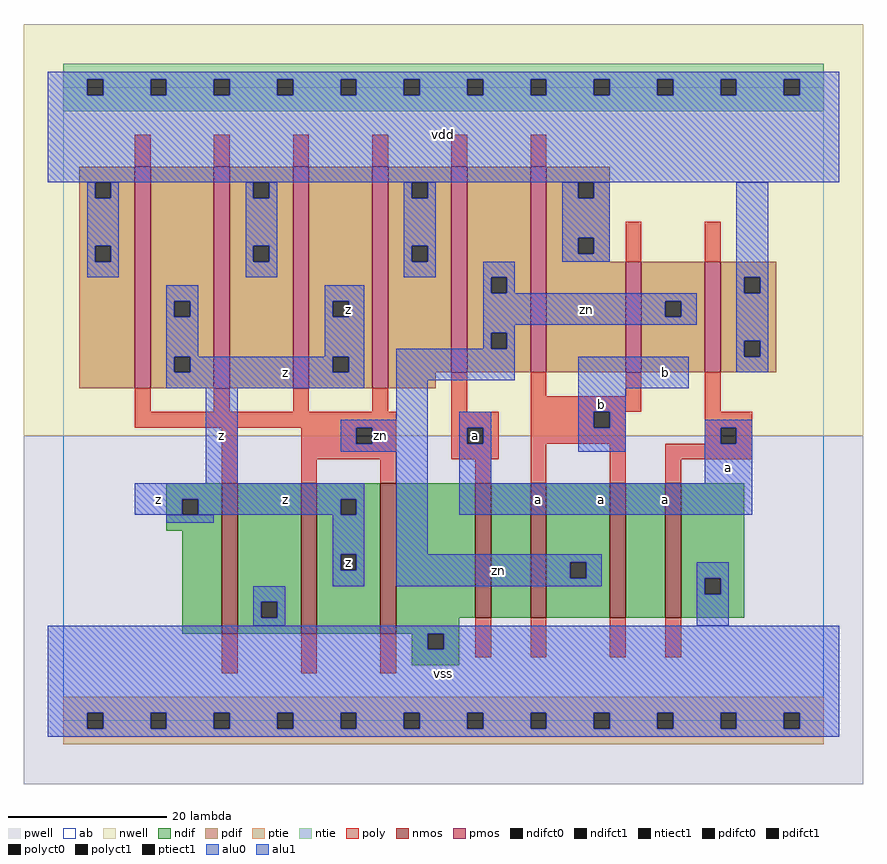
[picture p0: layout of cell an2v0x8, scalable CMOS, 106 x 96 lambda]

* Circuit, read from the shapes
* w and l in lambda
.subckt an2v0x8 a b vdd vss z zn
M1 vss zn z vss nfet w=19 l=2 m=3
M2 n1 a vss vss nfet w=17 l=2
M3 zn b n1 vss nfet w=17 l=2
M4 n2 b zn vss nfet w=17 l=2
M5 vss a n2 vss nfet w=17 l=2
M6 z zn vdd vdd pfet w=28 l=2 m=4
M7 zn a vdd vdd pfet w=26 l=2
M8 vdd b zn vdd pfet w=26 l=2
M9 zn b vdd vdd pfet w=14 l=2
M10 vdd a zn vdd pfet w=14 l=2
.ends

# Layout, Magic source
magic
tech scmos
<< ab >>
rect 0 0 96 80
<< nwell >>
rect -5 36 101 88
<< pwell >>
rect -5 -8 101 36
<< poly >>
rect 9 70 11 74
rect 19 70 21 74
rect 29 70 31 74
rect 39 70 41 74
rect 49 70 51 74
rect 59 70 61 74
rect 71 58 73 63
rect 81 58 83 63
rect 9 39 11 42
rect 19 39 21 42
rect 29 39 31 42
rect 39 39 41 42
rect 49 39 51 44
rect 59 41 61 44
rect 71 41 73 44
rect 59 39 73 41
rect 81 39 83 44
rect 9 37 42 39
rect 20 30 22 37
rect 30 35 37 37
rect 39 35 42 37
rect 30 33 42 35
rect 49 37 55 39
rect 49 35 51 37
rect 53 35 55 37
rect 49 33 55 35
rect 59 37 67 39
rect 69 37 71 39
rect 59 35 71 37
rect 81 37 87 39
rect 81 35 83 37
rect 85 35 87 37
rect 30 30 32 33
rect 40 30 42 33
rect 52 30 54 33
rect 59 30 61 35
rect 69 30 71 35
rect 76 33 87 35
rect 76 30 78 33
rect 20 6 22 11
rect 30 6 32 11
rect 40 6 42 11
rect 52 8 54 13
rect 59 8 61 13
rect 69 8 71 13
rect 76 8 78 13
<< ndif >>
rect 13 28 20 30
rect 13 26 15 28
rect 17 26 20 28
rect 13 24 20 26
rect 15 11 20 24
rect 22 15 30 30
rect 22 13 25 15
rect 27 13 30 15
rect 22 11 30 13
rect 32 28 40 30
rect 32 26 35 28
rect 37 26 40 28
rect 32 21 40 26
rect 32 19 35 21
rect 37 19 40 21
rect 32 11 40 19
rect 42 13 52 30
rect 54 13 59 30
rect 61 20 69 30
rect 61 18 64 20
rect 66 18 69 20
rect 61 13 69 18
rect 71 13 76 30
rect 78 18 86 30
rect 78 16 81 18
rect 83 16 86 18
rect 78 13 86 16
rect 42 11 50 13
rect 44 9 46 11
rect 48 9 50 11
rect 44 7 50 9
<< pdif >>
rect 2 68 9 70
rect 2 66 4 68
rect 6 66 9 68
rect 2 60 9 66
rect 2 58 4 60
rect 6 58 9 60
rect 2 42 9 58
rect 11 53 19 70
rect 11 51 14 53
rect 16 51 19 53
rect 11 46 19 51
rect 11 44 14 46
rect 16 44 19 46
rect 11 42 19 44
rect 21 68 29 70
rect 21 66 24 68
rect 26 66 29 68
rect 21 60 29 66
rect 21 58 24 60
rect 26 58 29 60
rect 21 42 29 58
rect 31 53 39 70
rect 31 51 34 53
rect 36 51 39 53
rect 31 46 39 51
rect 31 44 34 46
rect 36 44 39 46
rect 31 42 39 44
rect 41 68 49 70
rect 41 66 44 68
rect 46 66 49 68
rect 41 60 49 66
rect 41 58 44 60
rect 46 58 49 60
rect 41 44 49 58
rect 51 56 59 70
rect 51 54 54 56
rect 56 54 59 56
rect 51 49 59 54
rect 51 47 54 49
rect 56 47 59 49
rect 51 44 59 47
rect 61 68 69 70
rect 61 66 65 68
rect 67 66 69 68
rect 61 61 69 66
rect 61 59 65 61
rect 67 59 69 61
rect 61 58 69 59
rect 61 44 71 58
rect 73 53 81 58
rect 73 51 76 53
rect 78 51 81 53
rect 73 44 81 51
rect 83 56 90 58
rect 83 54 86 56
rect 88 54 90 56
rect 83 48 90 54
rect 83 46 86 48
rect 88 46 90 48
rect 83 44 90 46
rect 41 42 47 44
<< alu1 >>
rect -2 81 98 82
rect -2 79 3 81
rect 5 79 11 81
rect 13 79 19 81
rect 21 79 27 81
rect 29 79 35 81
rect 37 79 43 81
rect 45 79 51 81
rect 53 79 59 81
rect 61 79 67 81
rect 69 79 75 81
rect 77 79 83 81
rect 85 79 91 81
rect 93 79 98 81
rect -2 68 98 79
rect 13 53 17 55
rect 13 51 14 53
rect 16 51 17 53
rect 13 46 17 51
rect 33 53 38 55
rect 33 51 34 53
rect 36 51 38 53
rect 33 46 38 51
rect 13 44 14 46
rect 16 44 34 46
rect 36 44 38 46
rect 13 42 38 44
rect 18 30 22 42
rect 65 42 79 46
rect 65 39 71 42
rect 9 28 38 30
rect 9 26 15 28
rect 17 26 35 28
rect 37 26 38 28
rect 34 21 38 26
rect 34 19 35 21
rect 37 19 38 21
rect 34 17 38 19
rect 50 37 54 39
rect 50 35 51 37
rect 53 35 54 37
rect 50 30 54 35
rect 65 37 67 39
rect 69 37 71 39
rect 65 34 71 37
rect 81 37 87 38
rect 81 35 83 37
rect 85 35 87 37
rect 81 30 87 35
rect 50 26 87 30
rect -2 11 98 12
rect -2 9 46 11
rect 48 9 98 11
rect -2 1 98 9
rect -2 -1 3 1
rect 5 -1 11 1
rect 13 -1 19 1
rect 21 -1 27 1
rect 29 -1 35 1
rect 37 -1 43 1
rect 45 -1 51 1
rect 53 -1 59 1
rect 61 -1 67 1
rect 69 -1 75 1
rect 77 -1 83 1
rect 85 -1 91 1
rect 93 -1 98 1
rect -2 -2 98 -1
<< ptie >>
rect 0 1 96 3
rect 0 -1 3 1
rect 5 -1 11 1
rect 13 -1 19 1
rect 21 -1 27 1
rect 29 -1 35 1
rect 37 -1 43 1
rect 45 -1 51 1
rect 53 -1 59 1
rect 61 -1 67 1
rect 69 -1 75 1
rect 77 -1 83 1
rect 85 -1 91 1
rect 93 -1 96 1
rect 0 -3 96 -1
<< ntie >>
rect 0 81 96 83
rect 0 79 3 81
rect 5 79 11 81
rect 13 79 19 81
rect 21 79 27 81
rect 29 79 35 81
rect 37 79 43 81
rect 45 79 51 81
rect 53 79 59 81
rect 61 79 67 81
rect 69 79 75 81
rect 77 79 83 81
rect 85 79 91 81
rect 93 79 96 81
rect 0 77 96 79
<< nmos >>
rect 20 11 22 30
rect 30 11 32 30
rect 40 11 42 30
rect 52 13 54 30
rect 59 13 61 30
rect 69 13 71 30
rect 76 13 78 30
<< pmos >>
rect 9 42 11 70
rect 19 42 21 70
rect 29 42 31 70
rect 39 42 41 70
rect 49 44 51 70
rect 59 44 61 70
rect 71 44 73 58
rect 81 44 83 58
<< polyct0 >>
rect 37 35 39 37
<< polyct1 >>
rect 51 35 53 37
rect 67 37 69 39
rect 83 35 85 37
<< ndifct0 >>
rect 25 13 27 15
rect 64 18 66 20
rect 81 16 83 18
<< ndifct1 >>
rect 15 26 17 28
rect 35 26 37 28
rect 35 19 37 21
rect 46 9 48 11
<< ntiect1 >>
rect 3 79 5 81
rect 11 79 13 81
rect 19 79 21 81
rect 27 79 29 81
rect 35 79 37 81
rect 43 79 45 81
rect 51 79 53 81
rect 59 79 61 81
rect 67 79 69 81
rect 75 79 77 81
rect 83 79 85 81
rect 91 79 93 81
<< ptiect1 >>
rect 3 -1 5 1
rect 11 -1 13 1
rect 19 -1 21 1
rect 27 -1 29 1
rect 35 -1 37 1
rect 43 -1 45 1
rect 51 -1 53 1
rect 59 -1 61 1
rect 67 -1 69 1
rect 75 -1 77 1
rect 83 -1 85 1
rect 91 -1 93 1
<< pdifct0 >>
rect 4 66 6 68
rect 4 58 6 60
rect 24 66 26 68
rect 24 58 26 60
rect 44 66 46 68
rect 44 58 46 60
rect 54 54 56 56
rect 54 47 56 49
rect 65 66 67 68
rect 65 59 67 61
rect 76 51 78 53
rect 86 54 88 56
rect 86 46 88 48
<< pdifct1 >>
rect 14 51 16 53
rect 14 44 16 46
rect 34 51 36 53
rect 34 44 36 46
<< alu0 >>
rect 3 66 4 68
rect 6 66 7 68
rect 3 60 7 66
rect 3 58 4 60
rect 6 58 7 60
rect 3 56 7 58
rect 23 66 24 68
rect 26 66 27 68
rect 23 60 27 66
rect 23 58 24 60
rect 26 58 27 60
rect 23 56 27 58
rect 43 66 44 68
rect 46 66 47 68
rect 43 60 47 66
rect 43 58 44 60
rect 46 58 47 60
rect 63 66 65 68
rect 67 66 69 68
rect 63 61 69 66
rect 63 59 65 61
rect 67 59 69 61
rect 63 58 69 59
rect 43 56 47 58
rect 53 56 57 58
rect 53 54 54 56
rect 56 54 57 56
rect 85 56 89 68
rect 85 54 86 56
rect 88 54 89 56
rect 53 53 80 54
rect 53 51 76 53
rect 78 51 80 53
rect 53 50 80 51
rect 53 49 57 50
rect 53 47 54 49
rect 56 47 57 49
rect 42 43 57 47
rect 85 48 89 54
rect 85 46 86 48
rect 88 46 89 48
rect 42 38 46 43
rect 85 44 89 46
rect 35 37 46 38
rect 35 35 37 37
rect 39 35 46 37
rect 35 34 46 35
rect 13 25 19 26
rect 42 21 46 34
rect 42 20 68 21
rect 42 18 64 20
rect 66 18 68 20
rect 42 17 68 18
rect 80 18 84 20
rect 24 15 28 17
rect 24 13 25 15
rect 27 13 28 15
rect 24 12 28 13
rect 80 16 81 18
rect 83 16 84 18
rect 80 12 84 16
<< labels >>
rlabel alu0 40 36 40 36 6 zn
rlabel alu0 55 19 55 19 6 zn
rlabel alu0 66 52 66 52 6 zn
rlabel alu1 20 36 20 36 6 z
rlabel alu1 12 28 12 28 6 z
rlabel ndifct1 36 20 36 20 6 z
rlabel alu1 28 28 28 28 6 z
rlabel alu1 28 44 28 44 6 z
rlabel alu1 36 52 36 52 6 z
rlabel alu1 48 6 48 6 6 vss
rlabel polyct1 52 36 52 36 6 a
rlabel alu1 60 28 60 28 6 a
rlabel alu1 68 28 68 28 6 a
rlabel alu1 68 40 68 40 6 b
rlabel alu1 48 74 48 74 6 vdd
rlabel alu1 76 28 76 28 6 a
rlabel alu1 84 32 84 32 6 a
rlabel alu1 76 44 76 44 6 b
<< end >>
